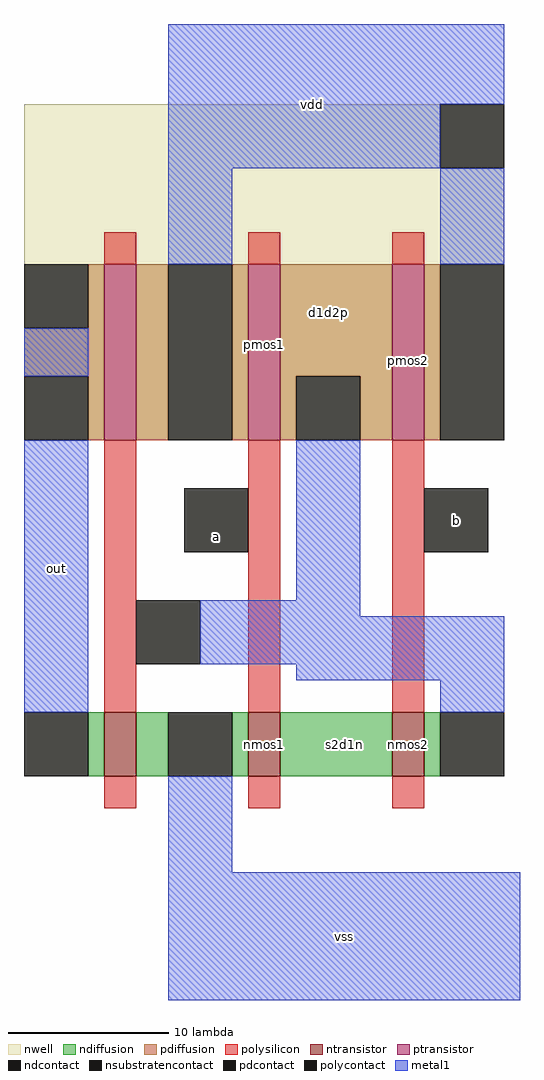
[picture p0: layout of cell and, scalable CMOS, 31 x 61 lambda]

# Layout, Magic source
magic
tech scmos
<< nwell >>
rect -13 16 17 37
<< polysilicon >>
rect -8 27 -6 29
rect 1 27 3 29
rect 10 27 12 29
rect -8 -1 -6 16
rect 1 -1 3 16
rect 10 -1 12 16
rect -8 -7 -6 -5
rect 1 -7 3 -5
rect 10 -7 12 -5
<< ndiffusion >>
rect -9 -5 -8 -1
rect -6 -5 -4 -1
rect 0 -5 1 -1
rect 3 -5 10 -1
rect 12 -5 13 -1
<< pdiffusion >>
rect -9 23 -8 27
rect -13 20 -8 23
rect -9 16 -8 20
rect -6 16 -4 27
rect 0 16 1 27
rect 3 20 10 27
rect 3 16 4 20
rect 8 16 10 20
rect 12 16 13 27
<< metal1 >>
rect -4 37 17 42
rect -4 33 13 37
rect -4 27 0 33
rect -13 20 -9 23
rect 13 27 17 33
rect -13 -1 -9 16
rect 4 6 8 16
rect -2 5 8 6
rect -2 2 17 5
rect 4 1 17 2
rect 13 -1 17 1
rect -4 -11 0 -5
rect -4 -19 18 -11
<< ntransistor >>
rect -8 -5 -6 -1
rect 1 -5 3 -1
rect 10 -5 12 -1
<< ptransistor >>
rect -8 16 -6 27
rect 1 16 3 27
rect 10 16 12 27
<< polycontact >>
rect -3 9 1 13
rect -6 2 -2 6
rect 12 9 16 13
<< ndcontact >>
rect -13 -5 -9 -1
rect -4 -5 0 -1
rect 13 -5 17 -1
<< pdcontact >>
rect -13 23 -9 27
rect -13 16 -9 20
rect -4 16 0 27
rect 4 16 8 20
rect 13 16 17 27
<< nsubstratencontact >>
rect 13 33 17 37
<< labels >>
rlabel polycontact -1 10 -1 10 3 a
rlabel polycontact 14 11 14 11 7 b
rlabel metal1 7 -15 7 -15 1 vss
rlabel ntransistor 2 -3 2 -3 1 nmos1
rlabel ntransistor 11 -3 11 -3 1 nmos2
rlabel ndiffusion 7 -3 7 -3 1 s2d1n
rlabel pdiffusion 6 24 6 24 1 d1d2p
rlabel ptransistor 11 21 11 21 1 pmos2
rlabel ptransistor 2 22 2 22 1 pmos1
rlabel metal1 5 37 5 37 5 vdd
rlabel metal1 -11 8 -11 8 3 out
<< end >>
